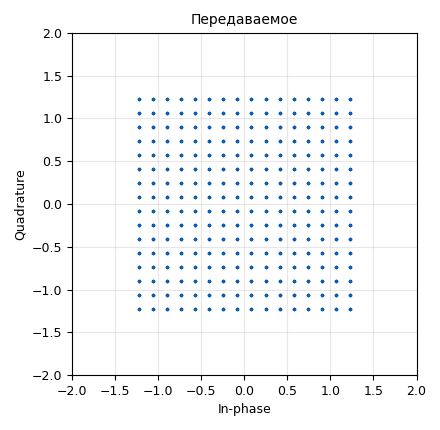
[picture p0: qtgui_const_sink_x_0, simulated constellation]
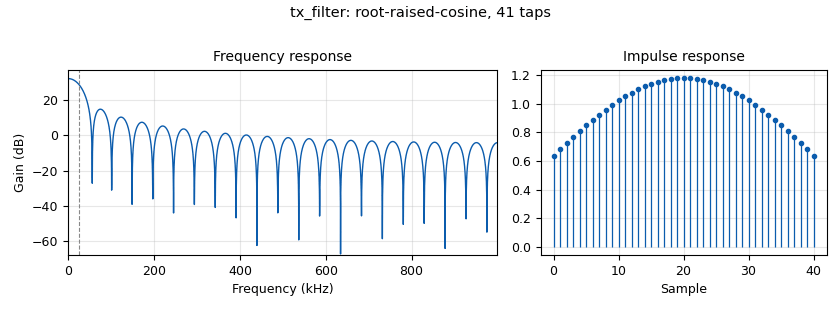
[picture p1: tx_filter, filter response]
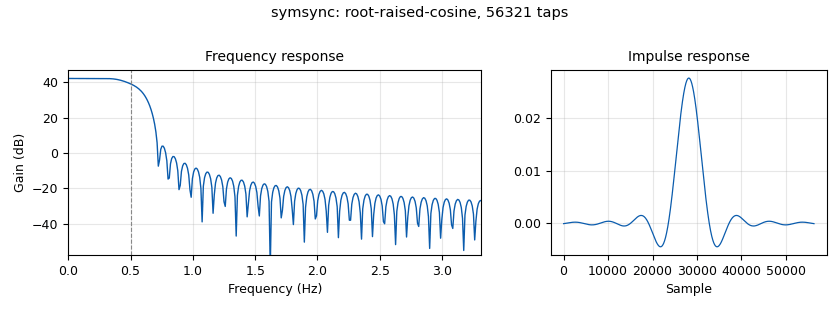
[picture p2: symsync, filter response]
options:
  parameters:
    author: Lab5
    generate_options: qt_gui
    id: lab6_3_2_256qam_sdr
    output_language: python
    title: ЛР6 п.3.2  256QAM через SDR
  states: {}

blocks:
- name: samp_rate
  id: variable
  parameters:
    value: 2e6
  states: {}
- name: M
  id: variable
  parameters:
    value: '256'
  states: {}
- name: symb_rate
  id: variable
  parameters:
    value: 50e3
  states: {}
- name: rrc
  id: variable_rrc_filter_taps
  parameters:
    gain: '40'
    samp_rate: samp_rate
    alpha: '0.4'
    ntaps: '40'
    sym_rate: symb_rate
  states: {}
- name: rrc_1
  id: variable_rrc_filter_taps
  parameters:
    gain: '1'
    samp_rate: samp_rate
    alpha: '0.4'
    ntaps: '40'
    sym_rate: symb_rate
  states: {}
- name: QAM256
  id: variable_constellation
  parameters:
    sym_map: list(range(M))
    const_points: '[a+1j*b for a in [x-7.5 for x in range(16)] for b in [x-7.5 for x in range(16)]]'
    rot_sym: '4'
    dims: '1'
    normalization: digital.constellation.AMPLITUDE_NORMALIZATION
    precision: '8'
    type: calcdist
  states: {}
- name: src
  id: blocks_vector_source_x
  parameters:
    vector: tuple(range(M))
    repeat: 'True'
    type: byte
  states: {}
- name: chunks2sym
  id: digital_chunks_to_symbols_xx
  parameters:
    dimension: '1'
    in_type: byte
    out_type: complex
    symbol_table: QAM256.points()
  states: {}
- name: qtgui_const_sink_x_0
  id: qtgui_const_sink_x
  parameters:
    type: complex
    name: '"Передаваемое"'
    size: '1024'
    grid: 'True'
    tr_slope: qtgui.TRIG_MODE_POS
  states: {}
- name: tx_filter
  id: interp_fir_filter_xxx
  parameters:
    interp: int(samp_rate/symb_rate)
    type: ccc
    taps: rrc
  states: {}
- name: center_freq
  id: variable
  parameters:
    value: 433.92e6
  states: {}
- name: tx_gain
  id: variable_qtgui_range
  parameters:
    value: '0'
    start: '0'
    stop: '47'
    step: '1'
    label: '"TX gain (HackRF), дБ"'
  states: {}
- name: rx_gain
  id: variable_qtgui_range
  parameters:
    value: '30'
    start: '0'
    stop: '49'
    step: '1'
    label: '"RX gain (RTL-SDR), дБ"'
  states: {}
- name: ppm
  id: variable_qtgui_range
  parameters:
    value: '0'
    start: '-100'
    stop: '100'
    step: '1'
    label: '"RX ppm"'
  states: {}
- name: blocks_multiply_const_vxx_0
  id: blocks_multiply_const_vxx
  parameters:
    const: '0.3'
    type: complex
  states: {}
- name: sdr_tx
  id: osmosdr_sink
  parameters:
    args: '"numchan=1 hackrf=0"'
    sample_rate: samp_rate
    freq0: center_freq
    gain0: tx_gain
    if_gain0: '20'
    bb_gain0: '20'
  states: {}
- name: sdr_rx
  id: osmosdr_source
  parameters:
    args: '"numchan=1 rtl=0"'
    sample_rate: samp_rate
    freq0: center_freq
    corr0: ppm
    dc_offset_mode0: '2'
    iq_balance_mode0: '2'
    gain_mode0: 'False'
    gain0: rx_gain
    if_gain0: '20'
    bb_gain0: '20'
  states: {}
- name: qtgui_freq_sink_x_0
  id: qtgui_freq_sink_x
  parameters:
    type: complex
    name: '"Спектр"'
    fftsize: '1024'
    fc: '0'
    bw: samp_rate
    grid: 'True'
    average: '0.2'
  states: {}
- name: eye
  id: qtgui_eye_sink_x
  parameters:
    type: complex
    size: '1024'
    samp_per_symbol: int(samp_rate/symb_rate)
    srate: samp_rate
    grid: 'True'
    autoscale: 'True'
    tr_slope: qtgui.TRIG_MODE_POS
  states: {}
- name: symsync
  id: digital_symbol_sync_xx
  parameters:
    constellation: QAM256.base()
    sps: int(samp_rate/symb_rate)
    ted_gain: '1.0'
    loop_bw: '0.045'
    damping: '1.0'
    max_dev: '1.5'
    osps: '1'
    nfilters: '128'
    pfb_mf_taps: firdes.root_raised_cosine(128, 128*samp_rate/symb_rate, 1.0, 0.4, 11*128*int(samp_rate/symb_rate))
    type: cc
    ted_type: digital.TED_GARDNER
    resamp_type: digital.IR_PFB_MF
  states: {}
- name: analog_agc_xx_0
  id: analog_agc_xx
  parameters:
    rate: '1e-3'
    reference: '1.0'
    gain: '1.0'
    max_gain: '65536'
    type: complex
  states: {}
- name: receiver
  id: digital_constellation_receiver_cb
  parameters:
    constellation: QAM256
    loop_bw: '0.0226'
    fmin: '-0.503'
    fmax: '0.503'
  states: {}
- name: qtgui_time_sink_x_0
  id: qtgui_time_sink_x
  parameters:
    type: float
    name: '"Ошибка (error)"'
    size: '1024'
    srate: symb_rate
    grid: 'True'
    ymin: '-0.5'
    ymax: '0.5'
    tr_slope: qtgui.TRIG_MODE_POS
  states: {}
- name: null_sink
  id: blocks_null_sink
  parameters:
    num_inputs: '3'
    type: float
  states: {}
- name: qtgui_const_sink_x_1
  id: qtgui_const_sink_x
  parameters:
    type: complex
    name: '"После демодулятора созвездия"'
    size: '1024'
    grid: 'True'
    tr_slope: qtgui.TRIG_MODE_POS
  states: {}
- name: number
  id: qtgui_number_sink
  parameters:
    name: '"Принятый символ"'
    min: '0'
    max: M
    type: byte
    graph_type: qtgui.NUM_GRAPH_HORIZ
  states: {}

connections:
- [src, '0', chunks2sym, '0']
- [chunks2sym, '0', qtgui_const_sink_x_0, '0']
- [chunks2sym, '0', tx_filter, '0']
- [tx_filter, '0', blocks_multiply_const_vxx_0, '0']
- [blocks_multiply_const_vxx_0, '0', sdr_tx, '0']
- [sdr_rx, '0', qtgui_freq_sink_x_0, '0']
- [sdr_rx, '0', eye, '0']
- [sdr_rx, '0', symsync, '0']
- [symsync, '0', analog_agc_xx_0, '0']
- [analog_agc_xx_0, '0', receiver, '0']
- [receiver, '1', qtgui_time_sink_x_0, '0']
- [receiver, '1', null_sink, '0']
- [receiver, '2', null_sink, '1']
- [receiver, '3', null_sink, '2']
- [receiver, '4', qtgui_const_sink_x_1, '0']
- [receiver, '0', number, '0']

metadata:
  file_format: 1
  grc_version: 3.10.12.0
